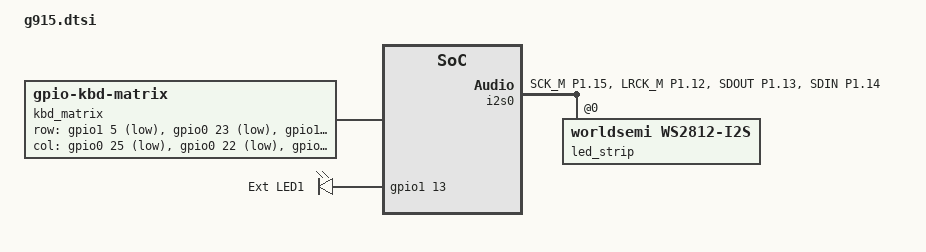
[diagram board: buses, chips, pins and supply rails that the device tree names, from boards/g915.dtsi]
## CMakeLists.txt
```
# SPDX-License-Identifier: Apache-2.0

cmake_minimum_required(VERSION 3.20.0)

find_package(Zephyr REQUIRED HINTS $ENV{ZEPHYR_BASE})
project(master)

FILE(GLOB app_sources src/*.c)
target_sources(app PRIVATE ${app_sources})
target_include_directories(app PRIVATE ${CMAKE_CURRENT_SOURCE_DIR}/boards)
list(APPEND BOARD_ROOT "C:/my_boards")
```

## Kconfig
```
# Copyright (c) 2019 Nordic Semiconductor ASA
# SPDX-License-Identifier: Apache-2.0

menu "WS2812 Sample Configuration"

config SAMPLE_LED_UPDATE_DELAY
	int "Delay between LED updates in ms"
<<<<<<< HEAD
	default 5
=======
	default 200
>>>>>>> local_driver
	help
	  Delay between LED updates in ms.

endmenu

source "Kconfig.zephyr"
```

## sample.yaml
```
sample:
  name: 2x2 Keypad HID with LED
  description: > 
    Minimal Zephyr 4.1.0 application for nRF5340DK implementing a 2x2 matrix keypad 
    that sends keys 1-4 via USB HID.
  boards:
    - nrf5340dk_nrf5340_cpuapp
    - g915_nrf5340_cpuapp
    - new_board_nrf5340_cpuapp
  tags: 
    - usb hid input
    - LED
```

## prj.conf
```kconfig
CONFIG_INPUT=y
CONFIG_USB_DEVICE_STACK=y
CONFIG_USB_DEVICE_HID=y
CONFIG_USB_DEVICE_VID=0x2FE2
CONFIG_USB_DEVICE_PID=0x0004
CONFIG_USB_DEVICE_MANUFACTURER="Zephyr"
CONFIG_USB_DEVICE_PRODUCT="2x2 Keypad HID"
CONFIG_USB_DEVICE_INITIALIZE_AT_BOOT=y
CONFIG_I2S=y
CONFIG_NRFX_USBREG=y
CONFIG_USB_HID_BOOT_PROTOCOL=y
CONFIG_USB_CDC_ACM=y
# CONFIG_LOG=y

CONFIG_NCS_SAMPLES_DEFAULTS=y
```

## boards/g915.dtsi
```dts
#include "led.h"

/ {

    /* Input‑event codes and MATRIX_KEY helper macros */
    #include <zephyr/dt-bindings/input/input-event-codes.h>
    #include <zephyr/dt-bindings/input/keymap.h>

    /* External keyboard matrix */
    kbd_matrix: keypad {
        compatible = "gpio-kbd-matrix";

        /* ── Row GPIOs: P1.05 P0.23 P1.06 P0.19 P0.03 P0.02 P0.07 (inputs, pull‑up, active‑low) ── */
        row-gpios =
            < &gpio1  5 (GPIO_PULL_UP | GPIO_ACTIVE_LOW) >,
            < &gpio0 23 (GPIO_PULL_UP | GPIO_ACTIVE_LOW) >,
            < &gpio1  6 (GPIO_PULL_UP | GPIO_ACTIVE_LOW) >,
            < &gpio0 19 (GPIO_PULL_UP | GPIO_ACTIVE_LOW) >,
            < &gpio0  3 (GPIO_PULL_UP | GPIO_ACTIVE_LOW) >,
            < &gpio0  2 (GPIO_PULL_UP | GPIO_ACTIVE_LOW) >,
            < &gpio0  7 (GPIO_PULL_UP | GPIO_ACTIVE_LOW) >;

        /* ── Column GPIOs: P0.25 P0.22 P0.26 P0.24 P0.20 P1.08 P0.06 P1.00 P1.01 P0.05 P0.04 P1.11 P0.31 P0.30 P1.10 P0.29 P0.28 (outputs, active‑low) ── */
        col-gpios =
            < &gpio0 25 GPIO_ACTIVE_LOW >,
            < &gpio0 22 GPIO_ACTIVE_LOW >,
            < &gpio0 26 GPIO_ACTIVE_LOW >,
            < &gpio0 24 GPIO_ACTIVE_LOW >,
            < &gpio0 20 GPIO_ACTIVE_LOW >,
            < &gpio1  8 GPIO_ACTIVE_LOW >,
            < &gpio0  6 GPIO_ACTIVE_LOW >,
            < &gpio1  0 GPIO_ACTIVE_LOW >,
            < &gpio1  1 GPIO_ACTIVE_LOW >,
            < &gpio0  5 GPIO_ACTIVE_LOW >,
            < &gpio0  4 GPIO_ACTIVE_LOW >,
            < &gpio1 11 GPIO_ACTIVE_LOW >,
            < &gpio0 31 GPIO_ACTIVE_LOW >,
            < &gpio0 30 GPIO_ACTIVE_LOW >,
            < &gpio1 10 GPIO_ACTIVE_LOW >,
            < &gpio0 29 GPIO_ACTIVE_LOW >,
            < &gpio0 28 GPIO_ACTIVE_LOW >;
    
     keymap: keymap {
            compatible = "input-keymap";
            row-size = <7>;
            col-size = <17>;
    

            /* keymap property – one MATRIX_KEY per switch, tokens separated by spaces */
            keymap = <
                /* Row 0 */
                MATRIX_KEY(0,  1, INPUT_KEY_F13)
                MATRIX_KEY(0,  2, INPUT_KEY_F14)
                MATRIX_KEY(0,  3, INPUT_KEY_F15)
                MATRIX_KEY(0,  4, INPUT_KEY_F16)
                MATRIX_KEY(0, 10, 165)   /* Previous Track */
                MATRIX_KEY(0, 11, 164)   /* Play / Pause  */
                MATRIX_KEY(0, 12, 163)   /* Next Track    */
                MATRIX_KEY(0, 13, INPUT_KEY_MUTE)

                /* Row 1 */
                MATRIX_KEY(1,  0, INPUT_KEY_ESC)
                MATRIX_KEY(1,  1, INPUT_KEY_F1)
                MATRIX_KEY(1,  2, INPUT_KEY_F2)
                MATRIX_KEY(1,  3, INPUT_KEY_F3)
                MATRIX_KEY(1,  4, INPUT_KEY_F4)
                MATRIX_KEY(1,  6, INPUT_KEY_F5)
                MATRIX_KEY(1,  7, INPUT_KEY_F6)
                MATRIX_KEY(1,  8, INPUT_KEY_F7)
                MATRIX_KEY(1,  9, INPUT_KEY_F8)
                MATRIX_KEY(1, 10, INPUT_KEY_F9)
                MATRIX_KEY(1, 11, INPUT_KEY_F10)
                MATRIX_KEY(1, 12, INPUT_KEY_F11)
                MATRIX_KEY(1, 13, INPUT_KEY_F12)
                MATRIX_KEY(1, 14, INPUT_KEY_PRINT)
                MATRIX_KEY(1, 15, INPUT_KEY_SCROLLLOCK)
                MATRIX_KEY(1, 16, INPUT_KEY_PAUSE)

                /* Row 2 */
                MATRIX_KEY(2,  0, INPUT_KEY_GRAVE)
                MATRIX_KEY(2,  1, INPUT_KEY_1)
                MATRIX_KEY(2,  2, INPUT_KEY_2)
                MATRIX_KEY(2,  3, INPUT_KEY_3)
                MATRIX_KEY(2,  4, INPUT_KEY_4)
                MATRIX_KEY(2,  5, INPUT_KEY_5)
                MATRIX_KEY(2,  6, INPUT_KEY_6)
                MATRIX_KEY(2,  7, INPUT_KEY_7)
                MATRIX_KEY(2,  8, INPUT_KEY_8)
                MATRIX_KEY(2,  9, INPUT_KEY_9)
                MATRIX_KEY(2, 10, INPUT_KEY_0)
                MATRIX_KEY(2, 11, INPUT_KEY_MINUS)
                MATRIX_KEY(2, 12, INPUT_KEY_EQUAL)
                MATRIX_KEY(2, 13, INPUT_KEY_BACKSPACE)
                MATRIX_KEY(2, 14, INPUT_KEY_INSERT)
                MATRIX_KEY(2, 15, INPUT_KEY_HOME)
                MATRIX_KEY(2, 16, INPUT_KEY_PAGEUP)

                /* Row 3 */
                MATRIX_KEY(3,  0, INPUT_KEY_TAB)
                MATRIX_KEY(3,  1, INPUT_KEY_Q)
                MATRIX_KEY(3,  2, INPUT_KEY_W)
                MATRIX_KEY(3,  3, INPUT_KEY_E)
                MATRIX_KEY(3,  4, INPUT_KEY_R)
                MATRIX_KEY(3,  5, INPUT_KEY_T)
                MATRIX_KEY(3,  6, INPUT_KEY_Y)
                MATRIX_KEY(3,  7, INPUT_KEY_U)
                MATRIX_KEY(3,  8, INPUT_KEY_I)
                MATRIX_KEY(3,  9, INPUT_KEY_O)
                MATRIX_KEY(3, 10, INPUT_KEY_P)
                MATRIX_KEY(3, 11, INPUT_KEY_LEFTBRACE)
                MATRIX_KEY(3, 12, INPUT_KEY_RIGHTBRACE)
                MATRIX_KEY(3, 13, INPUT_KEY_BACKSLASH)
                MATRIX_KEY(3, 14, INPUT_KEY_DELETE)
                MATRIX_KEY(3, 15, INPUT_KEY_END)
                MATRIX_KEY(3, 16, INPUT_KEY_PAGEDOWN)

                /* Row 4 */
                MATRIX_KEY(4,  0, INPUT_KEY_CAPSLOCK)
                MATRIX_KEY(4,  1, INPUT_KEY_A)
                MATRIX_KEY(4,  2, INPUT_KEY_S)
                MATRIX_KEY(4,  3, INPUT_KEY_D)
                MATRIX_KEY(4,  4, INPUT_KEY_F)
                MATRIX_KEY(4,  5, INPUT_KEY_G)
                MATRIX_KEY(4,  6, INPUT_KEY_H)
                MATRIX_KEY(4,  7, INPUT_KEY_J)
                MATRIX_KEY(4,  8, INPUT_KEY_K)
                MATRIX_KEY(4,  9, INPUT_KEY_L)
                MATRIX_KEY(4, 10, INPUT_KEY_SEMICOLON)
                MATRIX_KEY(4, 11, INPUT_KEY_APOSTROPHE)
                MATRIX_KEY(4, 12, INPUT_KEY_ENTER)

                /* Row 5 */
                MATRIX_KEY(5,  0, INPUT_KEY_LEFTSHIFT)
                MATRIX_KEY(5,  1, INPUT_KEY_Z)
                MATRIX_KEY(5,  2, INPUT_KEY_X)
                MATRIX_KEY(5,  3, INPUT_KEY_C)
                MATRIX_KEY(5,  4, INPUT_KEY_V)
                MATRIX_KEY(5,  5, INPUT_KEY_B)
                MATRIX_KEY(5,  6, INPUT_KEY_N)
                MATRIX_KEY(5,  7, INPUT_KEY_M)
                MATRIX_KEY(5,  8, INPUT_KEY_COMMA)
                MATRIX_KEY(5,  9, INPUT_KEY_DOT)
                MATRIX_KEY(5, 10, INPUT_KEY_SLASH)
                MATRIX_KEY(5, 11, INPUT_KEY_RIGHTSHIFT)
                MATRIX_KEY(5, 15, INPUT_KEY_UP)

                /* Row 6 */
                MATRIX_KEY(6,  0, INPUT_KEY_LEFTCTRL)
                MATRIX_KEY(6,  1, INPUT_KEY_LEFTMETA)
                MATRIX_KEY(6,  2, INPUT_KEY_LEFTALT)
                MATRIX_KEY(6,  5, INPUT_KEY_SPACE)
                MATRIX_KEY(6,  8, INPUT_KEY_RIGHTALT)
                MATRIX_KEY(6, 10, INPUT_KEY_MENU)
                MATRIX_KEY(6, 11, INPUT_KEY_RIGHTCTRL)
                MATRIX_KEY(6, 12, INPUT_KEY_F17)
                MATRIX_KEY(6, 14, INPUT_KEY_LEFT)
                MATRIX_KEY(6, 15, INPUT_KEY_DOWN)
                MATRIX_KEY(6, 16, INPUT_KEY_RIGHT)
            >;
        };
    };
    aliases {
        kbd = &kbd_matrix;   /* Correctly alias the keypad node */
    };
};

/ {
    leds {
        compatible = "gpio-leds";

        ext_led1: led1 {
            gpios = <&gpio1 13 GPIO_ACTIVE_HIGH>;
            label = "Ext LED1";
        };
    };

    aliases {
        led1 = &ext_led1;   /* lets application use DT_ALIAS(led1) */
    };
};

&pinctrl {
	i2s0_default_alt: i2s0_default_alt {
		group1 {
			psels = <NRF_PSEL(I2S_SCK_M, 1, 15)>,
				<NRF_PSEL(I2S_LRCK_M, 1, 12)>,
				<NRF_PSEL(I2S_SDOUT, 1, 13)>,
				<NRF_PSEL(I2S_SDIN, 1, 14)>;
		};
	};
};

&i2s0 {
	#address-cells = <1>;
	#size-cells = <0>;
	status = "okay";
	pinctrl-0 = <&i2s0_default_alt>;
	pinctrl-names = "default";

	led_strip: ws2812@0 {
		compatible = "worldsemi,ws2812-i2s";
		reg = <0>;                        /* required by binding */
		chain-length = <4>;
		color-mapping = <LED_COLOR_ID_GREEN
				         LED_COLOR_ID_RED
				         LED_COLOR_ID_BLUE
                         LED_COLOR_ID_WHITE
                         LED_COLOR_ID_AMBER>;
		reset-delay = <5>;
        		/* --- precise timing --- */
		lrck-period  = <10>;   /* 10 µs word  → 1.25 µs/bit */
		nibble-zero  = <0x08>; /* 1000 → 0.3125 µs HIGH  */
		nibble-one   = <0x0E>; /* 1110 → 0.9375 µs HIGH  */
		reset-delay  = <300>;  /* ≥280 µs latch pause    */
	};
};

&{/aliases} {
	led-strip = &led_strip;
};
```

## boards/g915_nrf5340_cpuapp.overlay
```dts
#include "led.h"

/ {

    /* Input‑event codes and MATRIX_KEY helper macros */
    #include <zephyr/dt-bindings/input/input-event-codes.h>
    #include <zephyr/dt-bindings/input/keymap.h>

    /* External keyboard matrix */
    kbd_matrix: keypad {
        compatible = "gpio-kbd-matrix";

        /* ── Row GPIOs: P1.05 P0.23 P1.06 P0.19 P0.03 P0.02 P0.07 (inputs, pull‑up, active‑low) ── */
        row-gpios =
            <&gpio1  4 (GPIO_PULL_UP | GPIO_ACTIVE_LOW)>,
            <&gpio1  5 (GPIO_PULL_UP | GPIO_ACTIVE_LOW)>,
            <&gpio0 23 (GPIO_PULL_UP | GPIO_ACTIVE_LOW)>,
            <&gpio0  7 (GPIO_PULL_UP | GPIO_ACTIVE_LOW)>,
            <&gpio0 19 (GPIO_PULL_UP | GPIO_ACTIVE_LOW)>,
            <&gpio0  7 (GPIO_PULL_UP | GPIO_ACTIVE_LOW)>,
            <&gpio0 14 (GPIO_PULL_UP | GPIO_ACTIVE_LOW)>;

        /* ── Column GPIOs: P0.25 P0.22 P0.26 P0.24 P0.20 P1.08 P0.06 P1.00 P1.01 P0.05 P0.04 P1.11 P0.31 P0.30 P1.10 P0.29 P0.28 (outputs, active‑low) ── */
        col-gpios =
            <&gpio1  6 GPIO_ACTIVE_LOW>,
            <&gpio1  7 GPIO_ACTIVE_LOW>,
            <&gpio0 25 GPIO_ACTIVE_LOW>,
            <&gpio0 22 GPIO_ACTIVE_LOW>,
            <&gpio0 26 GPIO_ACTIVE_LOW>,
            <&gpio0 24 GPIO_ACTIVE_LOW>,
            <&gpio0 20 GPIO_ACTIVE_LOW>,
            <&gpio1  8 GPIO_ACTIVE_LOW>,
            <&gpio0 06 GPIO_ACTIVE_LOW>,
            <&gpio1  0 GPIO_ACTIVE_LOW>,
            <&gpio1  1 GPIO_ACTIVE_LOW>,
            <&gpio0  5 GPIO_ACTIVE_LOW>,
            <&gpio0  4 GPIO_ACTIVE_LOW>,
            <&gpio1 11 GPIO_ACTIVE_LOW>, 
            <&gpio0 31 GPIO_ACTIVE_LOW>,
            <&gpio0 30 GPIO_ACTIVE_LOW>,
            <&gpio1 10 GPIO_ACTIVE_LOW>; //on board
    
     keymap: keymap {
            compatible = "input-keymap";
            row-size = <6>;
            col-size = <17>;
    

            /* keymap property – one MATRIX_KEY per switch, tokens separated by spaces */
            keymap = <
                MATRIX_KEY(0,  1, INPUT_KEY_F13)
                MATRIX_KEY(0,  2, INPUT_KEY_F14)
                MATRIX_KEY(0,  3, INPUT_KEY_F15)
                MATRIX_KEY(0,  4, INPUT_KEY_F16)
                MATRIX_KEY(0, 10, 165)   /* Previous Track */
                MATRIX_KEY(0, 11, 164)   /* Play / Pause  */
                MATRIX_KEY(0, 12, 163)   /* Next Track    */
                MATRIX_KEY(0, 13, INPUT_KEY_MUTE)

                MATRIX_KEY(1,  0, INPUT_KEY_ESC)
                MATRIX_KEY(1,  1, INPUT_KEY_F1)
                MATRIX_KEY(1,  2, INPUT_KEY_F2)
                MATRIX_KEY(1,  3, INPUT_KEY_F3)
                MATRIX_KEY(1,  4, INPUT_KEY_F4)
                MATRIX_KEY(1,  6, INPUT_KEY_F5)
                MATRIX_KEY(1,  7, INPUT_KEY_F6)
                MATRIX_KEY(1,  8, INPUT_KEY_F7)
                MATRIX_KEY(1,  9, INPUT_KEY_F8)
                MATRIX_KEY(1, 10, INPUT_KEY_F9)
                MATRIX_KEY(1, 11, INPUT_KEY_F10)
                MATRIX_KEY(1, 12, INPUT_KEY_F11)
                MATRIX_KEY(1, 13, INPUT_KEY_F12)
                MATRIX_KEY(1, 14, INPUT_KEY_PRINT)
                MATRIX_KEY(1, 15, INPUT_KEY_SCROLLLOCK)
                MATRIX_KEY(1, 16, INPUT_KEY_PAUSE)

                MATRIX_KEY(2,  0, INPUT_KEY_GRAVE)
                MATRIX_KEY(2,  1, INPUT_KEY_1)
                MATRIX_KEY(2,  2, INPUT_KEY_2)
                MATRIX_KEY(2,  3, INPUT_KEY_3)
                MATRIX_KEY(2,  4, INPUT_KEY_4)
                MATRIX_KEY(2,  5, INPUT_KEY_5)
                MATRIX_KEY(2,  6, INPUT_KEY_6)
                MATRIX_KEY(2,  7, INPUT_KEY_7)
                MATRIX_KEY(2,  8, INPUT_KEY_8)
                MATRIX_KEY(2,  9, INPUT_KEY_9)
                MATRIX_KEY(2, 10, INPUT_KEY_0)
                MATRIX_KEY(2, 11, INPUT_KEY_MINUS)
                MATRIX_KEY(2, 12, INPUT_KEY_EQUAL)
                MATRIX_KEY(2, 13, INPUT_KEY_BACKSPACE)
                MATRIX_KEY(2, 14, INPUT_KEY_INSERT)
                MATRIX_KEY(2, 15, INPUT_KEY_HOME)
                MATRIX_KEY(2, 16, INPUT_KEY_PAGEUP)

                /* Row 3 */
                MATRIX_KEY(3,  0, INPUT_KEY_TAB)
                MATRIX_KEY(3,  1, INPUT_KEY_Q)
                MATRIX_KEY(3,  2, INPUT_KEY_W)
                MATRIX_KEY(3,  3, INPUT_KEY_E)
                MATRIX_KEY(3,  4, INPUT_KEY_R)
                MATRIX_KEY(3,  5, INPUT_KEY_T)
                MATRIX_KEY(3,  6, INPUT_KEY_Y)
                MATRIX_KEY(3,  7, INPUT_KEY_U)
                MATRIX_KEY(3,  8, INPUT_KEY_I)
                MATRIX_KEY(3,  9, INPUT_KEY_O)
                MATRIX_KEY(3, 10, INPUT_KEY_P)
                MATRIX_KEY(3, 11, INPUT_KEY_LEFTBRACE)
                MATRIX_KEY(3, 12, INPUT_KEY_RIGHTBRACE)
                MATRIX_KEY(3, 13, INPUT_KEY_BACKSLASH)
                MATRIX_KEY(3, 14, INPUT_KEY_DELETE)
                MATRIX_KEY(3, 15, INPUT_KEY_END)
                MATRIX_KEY(3, 16, INPUT_KEY_PAGEDOWN)

                // /* Row 4 */
                // MATRIX_KEY(4,  0, INPUT_KEY_CAPSLOCK)
                // MATRIX_KEY(4,  1, INPUT_KEY_A)
                // MATRIX_KEY(4,  2, INPUT_KEY_S)
                // MATRIX_KEY(4,  3, INPUT_KEY_D)
                // MATRIX_KEY(4,  4, INPUT_KEY_F)
                // MATRIX_KEY(4,  5, INPUT_KEY_G)
                // MATRIX_KEY(4,  6, INPUT_KEY_H)
                // MATRIX_KEY(4,  7, INPUT_KEY_J)
                // MATRIX_KEY(4,  8, INPUT_KEY_K)
                // MATRIX_KEY(4,  9, INPUT_KEY_L)
                // MATRIX_KEY(4, 10, INPUT_KEY_SEMICOLON)
                // MATRIX_KEY(4, 11, INPUT_KEY_APOSTROPHE)
                // MATRIX_KEY(4, 12, INPUT_KEY_ENTER)

                // /* Row 5 */
                // MATRIX_KEY(5,  0, INPUT_KEY_LEFTSHIFT)
                // MATRIX_KEY(5,  1, INPUT_KEY_Z)
                // MATRIX_KEY(5,  2, INPUT_KEY_X)
                // MATRIX_KEY(5,  3, INPUT_KEY_C)
                // MATRIX_KEY(5,  4, INPUT_KEY_V)
                // MATRIX_KEY(5,  5, INPUT_KEY_B)
                // MATRIX_KEY(5,  6, INPUT_KEY_N)
                // MATRIX_KEY(5,  7, INPUT_KEY_M)
                // MATRIX_KEY(5,  8, INPUT_KEY_COMMA)
                // MATRIX_KEY(5,  9, INPUT_KEY_DOT)
                // MATRIX_KEY(5, 10, INPUT_KEY_SLASH)
                // MATRIX_KEY(5, 11, INPUT_KEY_RIGHTSHIFT)
                // MATRIX_KEY(5, 15, INPUT_KEY_UP)

                /* Row 6 */
                // MATRIX_KEY(6,  0, INPUT_KEY_LEFTCTRL)
                // MATRIX_KEY(6,  1, INPUT_KEY_LEFTMETA)
                // MATRIX_KEY(6,  2, INPUT_KEY_LEFTALT)
                // MATRIX_KEY(6,  5, INPUT_KEY_SPACE)
                // MATRIX_KEY(6,  8, INPUT_KEY_RIGHTALT)
                // MATRIX_KEY(6, 10, INPUT_KEY_MENU)
                // MATRIX_KEY(6, 11, INPUT_KEY_RIGHTCTRL)
                // MATRIX_KEY(6, 12, INPUT_KEY_F17)
                // MATRIX_KEY(6, 14, INPUT_KEY_LEFT)
                // MATRIX_KEY(6, 15, INPUT_KEY_DOWN)
                // MATRIX_KEY(6, 16, INPUT_KEY_RIGHT)
            >;
        };
    };
    aliases {
        kbd = &kbd_matrix;   /* Correctly alias the keypad node */
    };
};

/ {
    leds {
        compatible = "gpio-leds";

        ext_led1: led1 {
            gpios = <&gpio1 13 GPIO_ACTIVE_HIGH>;
            label = "Ext LED1";
        };
    };

    aliases {
        led1 = &ext_led1;   /* lets application use DT_ALIAS(led1) */
    };
};

&pinctrl {
	i2s0_default_alt: i2s0_default_alt {
		group1 {
			psels = <NRF_PSEL(I2S_SCK_M, 1, 15)>,
				<NRF_PSEL(I2S_LRCK_M, 1, 12)>,
				<NRF_PSEL(I2S_SDOUT, 1, 13)>,
				<NRF_PSEL(I2S_SDIN, 1, 14)>;
		};
	};
};

&i2s0 {
	#address-cells = <1>;
	#size-cells = <0>;
	status = "okay";
	pinctrl-0 = <&i2s0_default_alt>;
	pinctrl-names = "default";

	led_strip: ws2812@0 {
		compatible = "worldsemi,ws2812-i2s";
		reg = <0>;                        /* required by binding */
		chain-length = <4>;
		color-mapping = <LED_COLOR_ID_GREEN
				         LED_COLOR_ID_RED
				         LED_COLOR_ID_BLUE
                         LED_COLOR_ID_WHITE
                         LED_COLOR_ID_AMBER>;
		reset-delay = <5>;
        		/* --- precise timing --- */
		lrck-period  = <10>;   /* 10 µs word  → 1.25 µs/bit */
		nibble-zero  = <0x08>; /* 1000 → 0.3125 µs HIGH  */
		nibble-one   = <0x0E>; /* 1110 → 0.9375 µs HIGH  */
		reset-delay  = <300>;  /* ≥280 µs latch pause    */
	};
};

&{/aliases} {
	led-strip = &led_strip;
};
```

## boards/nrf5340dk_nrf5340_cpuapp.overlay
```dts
#include "led.h"

/ {

    /* Input‑event codes and MATRIX_KEY helper macros */
    #include <zephyr/dt-bindings/input/input-event-codes.h>
    #include <zephyr/dt-bindings/input/keymap.h>

    /* External keyboard matrix */
    kbd_matrix: keypad {
        compatible = "gpio-kbd-matrix";

        /* ── Row GPIOs: P1.05 P0.23 P1.06 P0.19 P0.03 P0.02 P0.07 (inputs, pull‑up, active‑low) ── */
        row-gpios =
            <&gpio1  5 (GPIO_PULL_UP | GPIO_ACTIVE_LOW)>,
            <&gpio0 23 (GPIO_PULL_UP | GPIO_ACTIVE_LOW)>,
            <&gpio1  6 (GPIO_PULL_UP | GPIO_ACTIVE_LOW)>,
            <&gpio0 19 (GPIO_PULL_UP | GPIO_ACTIVE_LOW)>,
            // <&gpio0  3 (GPIO_PULL_UP | GPIO_ACTIVE_LOW)>,
            // <&gpio0  2 (GPIO_PULL_UP | GPIO_ACTIVE_LOW)>,
            <&gpio0  7 (GPIO_PULL_UP | GPIO_ACTIVE_LOW)>;

        /* ── Column GPIOs: P0.25 P0.22 P0.26 P0.24 P0.20 P1.08 P0.06 P1.00 P1.01 P0.05 P0.04 P1.11 P0.31 P0.30 P1.10 P0.29 P0.28 (outputs, active‑low) ── */
        col-gpios =
            <&gpio0 25 GPIO_ACTIVE_LOW>,
            <&gpio0 22 GPIO_ACTIVE_LOW>,
            <&gpio0 26 GPIO_ACTIVE_LOW>,
            <&gpio0 24 GPIO_ACTIVE_LOW>,
            <&gpio0 20 GPIO_ACTIVE_LOW>,
            <&gpio1  8 GPIO_ACTIVE_LOW>,
            <&gpio0  6 GPIO_ACTIVE_LOW>,
            <&gpio1  0 GPIO_ACTIVE_LOW>,
            <&gpio1  1 GPIO_ACTIVE_LOW>,
            <&gpio0  5 GPIO_ACTIVE_LOW>,
            <&gpio0  4 GPIO_ACTIVE_LOW>,
            <&gpio1 11 GPIO_ACTIVE_LOW>,
            <&gpio0 31 GPIO_ACTIVE_LOW>,
            <&gpio0 30 GPIO_ACTIVE_LOW>,
            <&gpio1 10 GPIO_ACTIVE_LOW>,
            <&gpio0 29 GPIO_ACTIVE_LOW>,
            <&gpio0 28 GPIO_ACTIVE_LOW>;
    
     keymap: keymap {
            compatible = "input-keymap";
            row-size = <7>;
            col-size = <17>;
    

            /* keymap property – one MATRIX_KEY per switch, tokens separated by spaces */
            keymap = <
                // MATRIX_KEY(0,  1, INPUT_KEY_F13)
                MATRIX_KEY(0,  2, INPUT_KEY_F14)
                MATRIX_KEY(0,  3, INPUT_KEY_F15)
                MATRIX_KEY(0,  4, INPUT_KEY_F16)
                MATRIX_KEY(0, 10, 165)   /* Previous Track */
                MATRIX_KEY(0, 11, 164)   /* Play / Pause  */
                MATRIX_KEY(0, 12, 163)   /* Next Track    */
                MATRIX_KEY(0, 13, INPUT_KEY_MUTE)

                // MATRIX_KEY(1,  0, INPUT_KEY_ESC)
                // MATRIX_KEY(1,  1, INPUT_KEY_F1)
                MATRIX_KEY(1,  2, INPUT_KEY_F2)
                MATRIX_KEY(1,  3, INPUT_KEY_F3)
                MATRIX_KEY(1,  4, INPUT_KEY_F4)
                MATRIX_KEY(1,  6, INPUT_KEY_F5)
                MATRIX_KEY(1,  7, INPUT_KEY_F6)
                MATRIX_KEY(1,  8, INPUT_KEY_F7)
                MATRIX_KEY(1,  9, INPUT_KEY_F8)
                MATRIX_KEY(1, 10, INPUT_KEY_F9)
                MATRIX_KEY(1, 11, INPUT_KEY_F10)
                MATRIX_KEY(1, 12, INPUT_KEY_F11)
                MATRIX_KEY(1, 13, INPUT_KEY_F12)
                MATRIX_KEY(1, 14, INPUT_KEY_PRINT)
                MATRIX_KEY(1, 15, INPUT_KEY_SCROLLLOCK)
                MATRIX_KEY(1, 16, INPUT_KEY_PAUSE)

                MATRIX_KEY(2,  0, INPUT_KEY_GRAVE)
                MATRIX_KEY(2,  1, INPUT_KEY_1)
                MATRIX_KEY(2,  2, INPUT_KEY_2)
                MATRIX_KEY(2,  3, INPUT_KEY_3)
                MATRIX_KEY(2,  4, INPUT_KEY_4)
                MATRIX_KEY(2,  5, INPUT_KEY_5)
                MATRIX_KEY(2,  6, INPUT_KEY_6)
                MATRIX_KEY(2,  7, INPUT_KEY_7)
                MATRIX_KEY(2,  8, INPUT_KEY_8)
                MATRIX_KEY(2,  9, INPUT_KEY_9)
                MATRIX_KEY(2, 10, INPUT_KEY_0)
                MATRIX_KEY(2, 11, INPUT_KEY_MINUS)
                MATRIX_KEY(2, 12, INPUT_KEY_EQUAL)
                MATRIX_KEY(2, 13, INPUT_KEY_BACKSPACE)
                MATRIX_KEY(2, 14, INPUT_KEY_INSERT)
                MATRIX_KEY(2, 15, INPUT_KEY_HOME)
                MATRIX_KEY(2, 16, INPUT_KEY_PAGEUP)

                /* Row 3 */
                MATRIX_KEY(3,  0, INPUT_KEY_TAB)
                MATRIX_KEY(3,  1, INPUT_KEY_Q)
                MATRIX_KEY(3,  2, INPUT_KEY_W)
                MATRIX_KEY(3,  3, INPUT_KEY_E)
                MATRIX_KEY(3,  4, INPUT_KEY_R)
                MATRIX_KEY(3,  5, INPUT_KEY_T)
                MATRIX_KEY(3,  6, INPUT_KEY_Y)
                MATRIX_KEY(3,  7, INPUT_KEY_U)
                MATRIX_KEY(3,  8, INPUT_KEY_I)
                MATRIX_KEY(3,  9, INPUT_KEY_O)
                MATRIX_KEY(3, 10, INPUT_KEY_P)
                MATRIX_KEY(3, 11, INPUT_KEY_LEFTBRACE)
                MATRIX_KEY(3, 12, INPUT_KEY_RIGHTBRACE)
                MATRIX_KEY(3, 13, INPUT_KEY_BACKSLASH)
                MATRIX_KEY(3, 14, INPUT_KEY_DELETE)
                MATRIX_KEY(3, 15, INPUT_KEY_END)
                MATRIX_KEY(3, 16, INPUT_KEY_PAGEDOWN)

                /* Row 4 */
                MATRIX_KEY(4,  0, INPUT_KEY_CAPSLOCK)
                MATRIX_KEY(4,  1, INPUT_KEY_A)
                MATRIX_KEY(4,  2, INPUT_KEY_S)
                MATRIX_KEY(4,  3, INPUT_KEY_D)
                MATRIX_KEY(4,  4, INPUT_KEY_F)
                MATRIX_KEY(4,  5, INPUT_KEY_G)
                MATRIX_KEY(4,  6, INPUT_KEY_H)
                MATRIX_KEY(4,  7, INPUT_KEY_J)
                MATRIX_KEY(4,  8, INPUT_KEY_K)
                MATRIX_KEY(4,  9, INPUT_KEY_L)
                MATRIX_KEY(4, 10, INPUT_KEY_SEMICOLON)
                MATRIX_KEY(4, 11, INPUT_KEY_APOSTROPHE)
                MATRIX_KEY(4, 12, INPUT_KEY_ENTER)

                /* Row 5 */
                MATRIX_KEY(5,  0, INPUT_KEY_LEFTSHIFT)
                MATRIX_KEY(5,  1, INPUT_KEY_Z)
                MATRIX_KEY(5,  2, INPUT_KEY_X)
                MATRIX_KEY(5,  3, INPUT_KEY_C)
                MATRIX_KEY(5,  4, INPUT_KEY_V)
                MATRIX_KEY(5,  5, INPUT_KEY_B)
                MATRIX_KEY(5,  6, INPUT_KEY_N)
                MATRIX_KEY(5,  7, INPUT_KEY_M)
                MATRIX_KEY(5,  8, INPUT_KEY_COMMA)
                MATRIX_KEY(5,  9, INPUT_KEY_DOT)
                MATRIX_KEY(5, 10, INPUT_KEY_SLASH)
                MATRIX_KEY(5, 11, INPUT_KEY_RIGHTSHIFT)
                MATRIX_KEY(5, 15, INPUT_KEY_UP)

                /* Row 6 */
                MATRIX_KEY(6,  0, INPUT_KEY_LEFTCTRL)
                MATRIX_KEY(6,  1, INPUT_KEY_LEFTMETA)
                MATRIX_KEY(6,  2, INPUT_KEY_LEFTALT)
                MATRIX_KEY(6,  5, INPUT_KEY_SPACE)
                MATRIX_KEY(6,  8, INPUT_KEY_RIGHTALT)
                MATRIX_KEY(6, 10, INPUT_KEY_MENU)
                MATRIX_KEY(6, 11, INPUT_KEY_RIGHTCTRL)
                MATRIX_KEY(6, 12, INPUT_KEY_F17)
                MATRIX_KEY(6, 14, INPUT_KEY_LEFT)
                MATRIX_KEY(6, 15, INPUT_KEY_DOWN)
                MATRIX_KEY(6, 16, INPUT_KEY_RIGHT)
            >;
        };
    };
    aliases {
        kbd = &kbd_matrix;   /* Correctly alias the keypad node */
    };
};

/ {
    leds {
        compatible = "gpio-leds";

        ext_led1: led1 {
            gpios = <&gpio1 13 GPIO_ACTIVE_HIGH>;
            label = "Ext LED1";
        };
    };

    aliases {
        led1 = &ext_led1;   /* lets application use DT_ALIAS(led1) */
    };
};

&pinctrl {
	i2s0_default_alt: i2s0_default_alt {
		group1 {
			psels = <NRF_PSEL(I2S_SCK_M, 1, 15)>,
				<NRF_PSEL(I2S_LRCK_M, 1, 12)>,
				<NRF_PSEL(I2S_SDOUT, 1, 13)>,
				<NRF_PSEL(I2S_SDIN, 1, 14)>;
		};
	};
};

&i2s0 {
	#address-cells = <1>;
	#size-cells = <0>;
	status = "okay";
	pinctrl-0 = <&i2s0_default_alt>;
	pinctrl-names = "default";

	led_strip: ws2812@0 {
		compatible = "worldsemi,ws2812-i2s";
		reg = <0>;                        /* required by binding */
		chain-length = <4>;
		color-mapping = <LED_COLOR_ID_GREEN
				         LED_COLOR_ID_RED
				         LED_COLOR_ID_BLUE
                         LED_COLOR_ID_WHITE
                         LED_COLOR_ID_AMBER>;
		reset-delay = <5>;
        		/* --- precise timing --- */
		lrck-period  = <10>;   /* 10 µs word  → 1.25 µs/bit */
		nibble-zero  = <0x08>; /* 1000 → 0.3125 µs HIGH  */
		nibble-one   = <0x0E>; /* 1110 → 0.9375 µs HIGH  */
		reset-delay  = <300>;  /* ≥280 µs latch pause    */
	};
};

&{/aliases} {
	led-strip = &led_strip;
};
```

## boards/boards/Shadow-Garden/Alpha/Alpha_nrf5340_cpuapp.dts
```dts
/dts-v1/;
#include <nordic/nrf5340_cpuapp_qkaa.dtsi>
#include "Alpha-pinctrl.dtsi"

/ {
	model = "Alpha (CPUAPP)";
	compatible = "Shadow-Garden,Alpha-cpuapp";

	chosen {
		zephyr,sram = &sram0_image;
		zephyr,flash = &flash0;
		zephyr,code-partition = &slot0_partition;
		zephyr,sram-secure-partition = &sram0_s;
		zephyr,sram-non-secure-partition = &sram0_ns;
	};
};

#include "Alpha-cpuapp_partitioning.dtsi"
#include "Alpha-shared_sram.dtsi"
```

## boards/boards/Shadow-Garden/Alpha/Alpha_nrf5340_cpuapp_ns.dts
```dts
/dts-v1/;
#include <nordic/nrf5340_cpuappns_qkaa.dtsi>
#include "Alpha-pinctrl.dtsi"

/ {
	model = "Alpha (CPUAPP Non-Secure)";
	compatible = "Shadow-Garden,Alpha-cpuapp-ns";

	chosen {
		zephyr,sram = &sram0_ns;
		zephyr,flash = &flash0;
		zephyr,code-partition = &slot0_ns_partition;
	};
};

#include "Alpha-cpuapp_partitioning.dtsi"
#include "Alpha-shared_sram.dtsi"
```

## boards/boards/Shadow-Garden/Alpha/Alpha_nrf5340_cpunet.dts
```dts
/dts-v1/;
#include <nordic/nrf5340_cpunet_qkaa.dtsi>
#include "Alpha-pinctrl.dtsi"

/ {
	model = "Alpha";
	compatible = "Shadow-Garden,Alpha-cpunet";

	chosen {
		zephyr,sram = &sram1;
		zephyr,flash = &flash1;
		zephyr,code-partition = &slot0_partition;
	};
};

&flash1 {
	partitions {
		compatible = "fixed-partitions";
		#address-cells = <1>;
		#size-cells = <1>;

		boot_partition: partition@0 {
			label = "mcuboot";
			reg = <0x00000000 DT_SIZE_K(48)>;
		};

		slot0_partition: partition@c000 {
			label = "image-0";
			reg = <0x0000c000 DT_SIZE_K(92)>;
		};

		slot1_partition: partition@23000 {
			label = "image-1";
			reg = <0x00023000 DT_SIZE_K(92)>;
		};

		storage_partition: partition@3a000 {
			label = "storage";
			reg = <0x0003a000 DT_SIZE_K(24)>;
		};
	};
};

#include "Alpha-shared_sram.dtsi"
```

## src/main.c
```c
#include <zephyr/kernel.h>
#include <zephyr/device.h>
#include <zephyr/drivers/gpio.h>
#include <zephyr/drivers/spi.h>
#include <zephyr/dt-bindings/input/input-event-codes.h>
#include <zephyr/input/input.h>
#include <zephyr/input/input_hid.h>
#include <zephyr/usb/usb_device.h>
#include <zephyr/usb/class/usb_hid.h>
#include <zephyr/usb/class/hid.h>
#include <zephyr/sys/util.h>
#include "led_strip.h"
#include <errno.h>
#include <string.h>
#define LOG_LEVEL 4
#include <zephyr/logging/log.h>
LOG_MODULE_REGISTER(main);



#define STRIP_NODE DT_ALIAS(led_strip)
#if DT_NODE_HAS_PROP(DT_ALIAS(led_strip), chain_length)
#define STRIP_NUM_PIXELS DT_PROP(DT_ALIAS(led_strip), chain_length)
#else
#error Unable to determine length of LED strip
#endif
static const struct device *const strip = DEVICE_DT_GET(STRIP_NODE);
#define DELAY_TIME K_MSEC(CONFIG_SAMPLE_LED_UPDATE_DELAY)
#define RGB(_r, _g, _b, _w, _a) { .r = (_r), .g = (_g), .b = (_b), .w = (_w), .a = (_a) }
#define KBD_NODE DT_ALIAS(kbd)
static const struct led_rgb colors[] = {
    RGB(0x0f, 0x00, 0x00, 0x00, 0x00),
    RGB(0x00, 0x0f, 0x00, 0x00, 0x00),
    RGB(0x00, 0x00, 0x0f, 0x00, 0x00),
    RGB(0x00, 0x00, 0x00, 0x0f, 0x00),
    RGB(0x00, 0x00, 0x00, 0x00, 0x0f),
};
static struct led_rgb pixels[STRIP_NUM_PIXELS];



/* HID keyboard report descriptor (standard boot keyboard with 6KRO) */
static const uint8_t hid_report_desc[] = HID_KEYBOARD_REPORT_DESC();
/* Buffer for current keys pressed (up to 6 keys) */
static uint8_t key_report[8] = { 0 };  /* [0]=mods, [1]=reserved, [2..7]=keys */
/* Track pressed keys count and list for building reports */
static uint8_t pressed_key_usages[6] = { 0 };
static size_t pressed_count = 0;

static void handle_key_event(struct input_event *evt, void *user_data)
{
    if (evt->type != INPUT_EV_KEY) {
        return;  /* Ignore non-key events */
    }
    uint16_t code = evt->code;
    int32_t value = evt->value;  /* 1 for press, 0 for release */

    /* Convert to HID usage code and modifier (if any) */
    int16_t hid_usage = input_to_hid_code(code);
    uint8_t hid_modifier = input_to_hid_modifier(code);

    if (hid_usage < 0) {
        return;  // Unknown code, should not happen for our keys
    }

    if (value) {
        /* Key pressed: add to pressed keys list */
        if (pressed_count < 6) {
            pressed_key_usages[pressed_count++] = (uint8_t)hid_usage;
        }
    } else {
        /* Key released: remove from pressed keys list */
        for (size_t i = 0; i < pressed_count; ++i) {
            if (pressed_key_usages[i] == (uint8_t)hid_usage) {
                /* Shift the remaining keys down in the list */
                for (size_t j = i; j < pressed_count - 1; ++j) {
                    pressed_key_usages[j] = pressed_key_usages[j+1];
                }
                pressed_count--;
                break;
            }
        }
    }

    /* Build HID report for current keys pressed */
    key_report[0] = 0x00;  /* no modifiers by default */
    key_report[1] = 0x00;  /* reserved byte */
    /* Set modifier byte if any pressed key is a modifier (not the case for 1–4) */
    if (hid_modifier && value) {
        key_report[0] |= hid_modifier;
    }
    /* Fill key code slots, pad with 0x00 for no key */
    for (size_t i = 0; i < 6; ++i) {
        key_report[2 + i] = (i < pressed_count) ? pressed_key_usages[i] : 0x00;
    }

    /* Send report via HID interrupt endpoint */
    hid_int_ep_write(device_get_binding("HID_0"), key_report, sizeof(key_report), NULL);
}
INPUT_CALLBACK_DEFINE(NULL, handle_key_event, NULL);
int main(void)
{
    const struct device *hid_dev;
    int ret;

    /* Retrieve the default HID device (instance 0) */
    hid_dev = device_get_binding("HID_0");
    if (hid_dev == NULL) {
        printk("ERROR: Cannot find HID device\n");
        return;
    }

    /* Register HID report descriptor and initialize HID device */
    usb_hid_register_device(hid_dev, hid_report_desc, sizeof(hid_report_desc), NULL);
    ret = usb_hid_init(hid_dev);
    if (ret != 0) {
        printk("ERROR: Failed to initialize USB HID (err %d)\n", ret);
        return;
    }

    /* Enable the USB device */
    ret = usb_enable(NULL);
    if (ret != 0) {
        printk("ERROR: Failed to enable USB (err %d)\n", ret);
        return;
    }

    printk("Keypad HID application ready.\n");
    /* The input callback will now handle key events and send HID reports */
    for (;;) {
        k_sleep(K_FOREVER);
    }



    /* LED chase */
    size_t color = 0;
    // int rc;
    // if (gpio_is_ready_dt(&led0)) {
    //     gpio_pin_configure_dt(&led0, GPIO_OUTPUT_INACTIVE);
    // }

    //    for (;;) {
    //     k_sleep(K_FOREVER);
    // }
}
```

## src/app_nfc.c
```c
// /*
//  * Copyright (c) 2019 Nordic Semiconductor ASA
//  *
//  * SPDX-License-Identifier: LicenseRef-Nordic-5-Clause
//  */

// #if CONFIG_NFC_OOB_PAIRING

// #include "app_nfc.h"
// #include <nfc_t2t_lib.h>

// static struct bt_le_oob oob_local;
// static uint8_t ndef_msg_buf[256]; /* Buffer used to hold an NFC NDEF message. */

// void nfc_field_detected(void);
// void nfc_field_lost(void);

// static void nfc_callback(void *context,
// 			 nfc_t2t_event_t event,
// 			 const uint8_t *data,
// 			 size_t data_length)
// {
// 	ARG_UNUSED(context);
// 	ARG_UNUSED(data);
// 	ARG_UNUSED(data_length);

// 	switch (event) {
// 	case NFC_T2T_EVENT_FIELD_ON:
// 		nfc_field_detected();
// 		break;
// 	case NFC_T2T_EVENT_FIELD_OFF:
// 		nfc_field_lost();
// 		break;
// 	default:
// 		break;
// 	}
// }

// int nfc_ndef_le_oob_msg_encode(uint8_t *buffer, uint32_t *len)
// {
// 	int err;
// 	struct nfc_ndef_le_oob_rec_payload_desc rec_payload;

// 	err = bt_le_oob_get_local(BT_ID_DEFAULT, &oob_local);
// 	if (err) {
// 		printk("Error while fetching local OOB data: %d\n", err);
// 	}

// 	memset(&rec_payload, 0, sizeof(rec_payload));

// 	rec_payload.addr = &oob_local.addr;
// 	rec_payload.le_sc_data = &oob_local.le_sc_data;
// 	rec_payload.local_name = bt_get_name();
// 	rec_payload.le_role = NFC_NDEF_LE_OOB_REC_LE_ROLE(
// 		NFC_NDEF_LE_OOB_REC_LE_ROLE_PERIPH_ONLY);
// 	rec_payload.appearance = NFC_NDEF_LE_OOB_REC_APPEARANCE(
// 		CONFIG_BT_DEVICE_APPEARANCE);
// 	rec_payload.flags = NFC_NDEF_LE_OOB_REC_FLAGS(BT_LE_AD_NO_BREDR);

// 	/* Create NFC NDEF message description, capacity - 1 record */
// 	NFC_NDEF_MSG_DEF(nfc_le_oob_msg, 1);

// 	/* Create NFC NDEF LE OOB Record description without record ID field */
// 	NFC_NDEF_LE_OOB_RECORD_DESC_DEF(nfc_le_oob_rec, 0, &rec_payload);

// 	/* Add LE OOB Record as lone record to message */
// 	err = nfc_ndef_msg_record_add(&NFC_NDEF_MSG(nfc_le_oob_msg),
// 			&NFC_NDEF_LE_OOB_RECORD_DESC(nfc_le_oob_rec));
// 	if (err < 0) {
// 		printk("Error while adding LE OOB record: %d\n", err);
// 		return err;
// 	}

// 	err = nfc_ndef_msg_encode(&NFC_NDEF_MSG(nfc_le_oob_msg),
// 				      buffer,
// 				      len);
// 	if (err < 0) {
// 		printk("Error during NDEF message encoding: %d\n", err);
// 		return err;
// 	}

// 	return 0;
// }

// void app_nfc_init(void)
// {
// 	uint32_t len = sizeof(ndef_msg_buf);

// 	printk("NFC configuration start\n");

// 	/* Set up NFC */
// 	if (nfc_t2t_setup(nfc_callback, NULL) < 0) {
// 		printk("Cannot setup NFC T2T library!\n");
// 	}

// 	/* Prepare an NDEF message with LE OOB record. */
// 	if (nfc_ndef_le_oob_msg_encode(ndef_msg_buf, &len) < 0) {
// 		printk("Cannot encode BLE pair message!\n");
// 	}

// 	/* Set created message as the NFC payload */
// 	if (nfc_t2t_payload_set(ndef_msg_buf, len) < 0) {
// 		printk("Cannot set payload!\n");
// 	}

// 	/* Start sensing NFC field */
// 	if (nfc_t2t_emulation_start() < 0) {
// 		printk("Cannot start emulation!\n");
// 	}

// 	printk("NFC configuration done\n");
// }

// struct bt_le_oob *app_nfc_oob_data_get(void)
// {
// 	return &oob_local;
// }

// #endif
```

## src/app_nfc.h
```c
// /*
//  * Copyright (c) 2019 Nordic Semiconductor ASA
//  *
//  * SPDX-License-Identifier: LicenseRef-Nordic-5-Clause
//  */

// #include <nfc/ndef/msg.h>
// #include <nfc/ndef/uri_msg.h>
// #include <nfc/ndef/le_oob_rec.h>

// /** @brief Initialize NFC.
//  */
// void app_nfc_init(void);

// /** @brief Retrieve Out of Band data.
//  */
// struct bt_le_oob *app_nfc_oob_data_get(void);
```

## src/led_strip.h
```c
#ifndef ZEPHYR_INCLUDE_DRIVERS_LED_STRIP_H_
#define ZEPHYR_INCLUDE_DRIVERS_LED_STRIP_H_

#include <errno.h>
#include <zephyr/types.h>
#include <zephyr/device.h>

#ifdef __cplusplus
extern "C" {
#endif




struct led_rgb {
#ifdef CONFIG_LED_STRIP_RGB_SCRATCH
	/*
	 * Pad/scratch space needed by some drivers. Users should
	 * ignore.
	 */
	uint8_t scratch;
#endif
	/** Red channel */
	uint8_t r;
	/** Green channel */
	uint8_t g;
	/** Blue channel */
	uint8_t b;
	uint8_t w;
	uint8_t a;
};


typedef int (*led_api_update_rgb)(const struct device *dev,
				  struct led_rgb *pixels,
				  size_t num_pixels);




typedef int (*led_api_update_channels)(const struct device *dev,
				       uint8_t *channels,
				       size_t num_channels);


typedef size_t (*led_api_length)(const struct device *dev);

__subsystem struct led_strip_driver_api {
	led_api_update_rgb update_rgb;
	led_api_update_channels update_channels;
	led_api_length length;
};


static inline int led_strip_update_rgb(const struct device *dev,
				       struct led_rgb *pixels,
				       size_t num_pixels)
{
	const struct led_strip_driver_api *api =
		(const struct led_strip_driver_api *)dev->api;

	/* Allow for out-of-tree drivers that do not have this function for 2 Zephyr releases
	 * until making it mandatory, function added after Zephyr 3.6
	 */
	if (api->length != NULL) {
		/* Ensure supplied pixel size is valid for this device */
		if (api->length(dev) < num_pixels) {
			return -ERANGE;
		}
	}

	return api->update_rgb(dev, pixels, num_pixels);
}



static inline int led_strip_update_channels(const struct device *dev,
					    uint8_t *channels,
					    size_t num_channels)
{
	const struct led_strip_driver_api *api =
		(const struct led_strip_driver_api *)dev->api;

	if (api->update_channels == NULL) {
		return -ENOSYS;
	}

	return api->update_channels(dev, channels, num_channels);
}

/**
 * @brief	Mandatory function to get chain length (in pixels) of an LED strip device.
 *
 * @param dev	LED strip device.
 *
 * @retval	Length of LED strip device.
 */
static inline size_t led_strip_length(const struct device *dev)
{
	const struct led_strip_driver_api *api =
		(const struct led_strip_driver_api *)dev->api;

	return api->length(dev);
}

#ifdef __cplusplus
}
#endif

/**
 * @}
 */

#endif	/* ZEPHYR_INCLUDE_DRIVERS_LED_STRIP_H_ */
```

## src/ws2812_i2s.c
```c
#define DT_DRV_COMPAT worldsemi_ws2812_i2s

#include <string.h>
#include "led_strip.h"

#ifndef CONFIG_LED_STRIP_LOG_LEVEL
#define CONFIG_LED_STRIP_LOG_LEVEL LOG_LEVEL_DBG
#endif
#define LOG_LEVEL CONFIG_LED_STRIP_LOG_LEVEL
#include <zephyr/logging/log.h>
LOG_MODULE_REGISTER(ws2812_i2s);

#include <zephyr/device.h>
#include <zephyr/drivers/i2s.h>
#include "led.h"
#include <zephyr/kernel.h>
#include <zephyr/sys/util.h>

#define WS2812_I2S_PRE_DELAY_WORDS 1

struct ws2812_i2s_cfg {
    const struct device *dev;
    size_t tx_buf_bytes;
    struct k_mem_slab *mem_slab;
    uint8_t num_colors;
    size_t length;
    const uint8_t *color_mapping;
    uint16_t reset_words;
    uint32_t lrck_period;
    uint32_t extra_wait_time_us;
    bool active_low;
    uint8_t nibble_one;
    uint8_t nibble_zero;
};

/* Serialize one 8‑bit colour into two 16‑bit I²S samples (one 32‑bit word) */
static inline uint32_t ws2812_i2s_ser(uint8_t colour, uint8_t sym_one, uint8_t sym_zero)
{
    uint32_t word = 0;
    for (uint_fast8_t mask = 0x80; mask != 0; mask >>= 1) {
        word <<= 4;
        word |= (colour & mask) ? sym_one : sym_zero;
    }
    /* Swap due to stereo channel ordering */
    return (word >> 16) | (word << 16);
}

/* LED‑strip API --------------------------------------------------------- */
static int ws2812_strip_update_rgb(const struct device *dev,
                                   struct led_rgb *pixels,
                                   size_t num_pixels)
{
    const struct ws2812_i2s_cfg *cfg = dev->config;
    const uint8_t sym_one  = cfg->nibble_one;
    const uint8_t sym_zero = cfg->nibble_zero;
    const uint32_t reset_word = cfg->active_low ? ~0u : 0u;

    void *mem_block;
    int ret = k_mem_slab_alloc(cfg->mem_slab, &mem_block, K_SECONDS(10));
    if (ret < 0) {
        LOG_ERR("TX slab alloc failed (%d)", ret);
        return -ENOMEM;
    }
    uint32_t *tx_buf = (uint32_t *)mem_block;

    /* Leading reset */
    for (uint8_t i = 0; i < WS2812_I2S_PRE_DELAY_WORDS; i++) {
        *tx_buf++ = reset_word;
    }

    for (size_t i = 0; i < num_pixels; i++) {
        for (uint8_t j = 0; j < cfg->num_colors; j++) {
            uint8_t p = 0;
            switch (cfg->color_mapping[j]) {
            case LED_COLOR_ID_RED:   p = pixels[i].r; break;
            case LED_COLOR_ID_GREEN: p = pixels[i].g; break;
            case LED_COLOR_ID_BLUE:  p = pixels[i].b; break;
            case LED_COLOR_ID_WHITE: p = pixels[i].w; break;
            case LED_COLOR_ID_AMBER: p = pixels[i].a; break;

            default: k_mem_slab_free(cfg->mem_slab, mem_block); return -EINVAL;
            }
            *tx_buf++ = ws2812_i2s_ser(p, sym_one, sym_zero) ^ reset_word;
        }
    }

    for (uint16_t i = 0; i < cfg->reset_words; i++) {
        *tx_buf++ = reset_word;
    }

    /* Push via I²S */
    ret = i2s_write(cfg->dev, mem_block, cfg->tx_buf_bytes);
    if (ret < 0) {
        k_mem_slab_free(cfg->mem_slab, mem_block);
        LOG_ERR("i2s_write failed (%d)", ret);
        return ret;
    }

    ret = i2s_trigger(cfg->dev, I2S_DIR_TX, I2S_TRIGGER_START);
    if (ret < 0) return ret;
    ret = i2s_trigger(cfg->dev, I2S_DIR_TX, I2S_TRIGGER_DRAIN);
    if (ret < 0) return ret;

    uint32_t flush_us = cfg->lrck_period * (cfg->tx_buf_bytes / sizeof(uint32_t));
    k_usleep(flush_us + cfg->extra_wait_time_us);

    return 0;
}

static size_t ws2812_strip_length(const struct device *dev)
{
    return ((const struct ws2812_i2s_cfg *)dev->config)->length;
}

/* Init ----------------------------------------------------------------- */
static int ws2812_i2s_init(const struct device *dev)
{
    const struct ws2812_i2s_cfg *cfg = dev->config;
    struct i2s_config i2s_cfg = {0};
    uint32_t lrck_hz = USEC_PER_SEC / cfg->lrck_period;

    i2s_cfg.word_size      = 16;
    i2s_cfg.channels       = 2;
    i2s_cfg.format         = I2S_FMT_DATA_FORMAT_I2S;
    i2s_cfg.options        = I2S_OPT_BIT_CLK_MASTER | I2S_OPT_FRAME_CLK_MASTER;
    i2s_cfg.frame_clk_freq = lrck_hz;
    i2s_cfg.mem_slab       = cfg->mem_slab;
    i2s_cfg.block_size     = cfg->tx_buf_bytes;
    i2s_cfg.timeout        = 1000;

    int ret = i2s_configure(cfg->dev, I2S_DIR_TX, &i2s_cfg);
    if (ret < 0) {
        LOG_ERR("I2S configure failed (%d)", ret);
        return ret;
    }

    /* Validate colour mapping */
    for (uint8_t i = 0; i < cfg->num_colors; i++) {
        switch (cfg->color_mapping[i]) {
        case LED_COLOR_ID_RED:
        case LED_COLOR_ID_GREEN:
        case LED_COLOR_ID_BLUE:
        case LED_COLOR_ID_WHITE:
        case LED_COLOR_ID_AMBER:

            break;
        default:
            LOG_ERR("%s: invalid colour mapping", dev->name);
            return -EINVAL;
        }
    }
    return 0;
}

/* Driver API table ------------------------------------------------------ */
static const struct led_strip_driver_api ws2812_i2s_api = {
    .update_rgb = ws2812_strip_update_rgb,
    .length     = ws2812_strip_length,
};

/* Devicetree instantiation --------------------------------------------- */
#ifndef CONFIG_LED_STRIP_INIT_PRIORITY
#define CONFIG_LED_STRIP_INIT_PRIORITY 90
#endif

#define WS2812_I2S_LRCK_PERIOD_US(i)  DT_INST_PROP(i, lrck_period)
#define WS2812_RESET_DELAY_US(i)      DT_INST_PROP(i, reset_delay)
#define WS2812_RESET_DELAY_WORDS(i)   DIV_ROUND_UP(WS2812_RESET_DELAY_US(i), WS2812_I2S_LRCK_PERIOD_US(i))
#define NUM_COLORS(i)                 DT_INST_PROP_LEN(i, color_mapping)
#define NUM_PIXELS(i)                 DT_INST_PROP(i, chain_length)
#define BUFSIZE(i)  (((NUM_COLORS(i) * NUM_PIXELS(i)) + WS2812_I2S_PRE_DELAY_WORDS + WS2812_RESET_DELAY_WORDS(i)) * 4)

#define WS2812_I2S_DEVICE(i)                                                     \
    K_MEM_SLAB_DEFINE_STATIC(ws2812_slab_##i, BUFSIZE(i), 2, 4);              \
    static const uint8_t color_map_##i[] = DT_INST_PROP(i, color_mapping);     \
    static const struct ws2812_i2s_cfg cfg_##i = {                             \
        .dev                = DEVICE_DT_GET(DT_INST_BUS(i)),                  \
        .tx_buf_bytes       = BUFSIZE(i),                                     \
        .mem_slab           = &ws2812_slab_##i,                               \
        .num_colors         = NUM_COLORS(i),                                  \
        .length             = NUM_PIXELS(i),                                  \
        .color_mapping      = color_map_##i,                                  \
        .lrck_period        = DT_INST_PROP(i, lrck_period),                   \
        .extra_wait_time_us = DT_INST_PROP(i, extra_wait_time),               \
        .reset_words        = WS2812_RESET_DELAY_WORDS(i),                    \
        .active_low         = DT_INST_PROP(i, out_active_low),                \
        .nibble_one         = DT_INST_PROP(i, nibble_one),                    \
        .nibble_zero        = DT_INST_PROP(i, nibble_zero),                   \
    };                                                                         \
    DEVICE_DT_INST_DEFINE(i, ws2812_i2s_init, NULL, NULL, &cfg_##i,            \
                          POST_KERNEL, CONFIG_LED_STRIP_INIT_PRIORITY, &ws2812_i2s_api);

DT_INST_FOREACH_STATUS_OKAY(WS2812_I2S_DEVICE)
```
